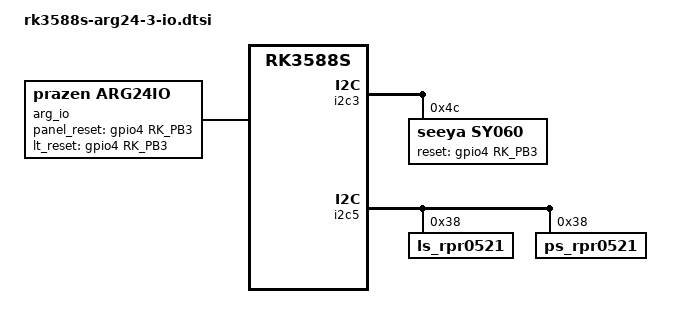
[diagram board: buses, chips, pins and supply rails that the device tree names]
// SPDX-License-Identifier: (GPL-2.0+ OR MIT)
/*
 * Copyright (c) 2024 Prazen Co., Ltd.
 *
 */


/ {
	arg_io {
		status = "okay";
		compatible = "prazen,arg24io";

		panel_reset = <&gpio4 RK_PB3 GPIO_ACTIVE_HIGH>;
		lt_reset = <&gpio4 RK_PB3 GPIO_ACTIVE_HIGH>;	
	};
};

// [feature development] mspark, 24.08.06, Add SeeYA OLED 0.6' Panel dts
&i2c3 {
	sy060: sy060@4c {
		status = "okay";
		compatible = "seeya,sy060";
		reg = <0x4c>;
		reset-gpio = <&gpio4 RK_PB3 GPIO_ACTIVE_HIGH>;
	};
};

// [feature development] mspark, 24.08.21, Add Light / Proximity Sensor (RPR-0521)
&i2c5 {
	ls_rpr0521: light@38 {
		compatible = "ls_rpr0521";
		status = "okay";
		reg = <0x38>;
		type = <SENSOR_TYPE_LIGHT>;
		irq_enable = <0>;
		als_measure_time = <100>;
		als_threshold_high = <100>;
		als_threshold_low = <10>;
		als_ctrl_gain = <0>; /* 0:x1 1:x2 2:x64 3:x128 */
		ps_led_current = <2>; /* 0:25mA 1:50mA 2:100mA 3:200mA*/		
		poll_delay_ms = <100>;
	};

	ps_rpr0521: proximity@38 {
		compatible = "ps_rpr0521";
		status = "okay";
		reg = <0x38>;
		type = <SENSOR_TYPE_PROXIMITY>;
		irq_enable = <0>;
		ps_measure_time = <100>;
		ps_threshold_high = <0x200>;
		ps_threshold_low = <0x100>;
		ps_ctrl_gain = <0>; /* 0:x1 1:x2 2:x4 */
		ps_led_current = <2>; /* 0:25mA 1:50mA 2:100mA 3:200mA*/
		als_ctrl_gain = <0>; /* 0:x1 1:x2 2:x64 3:x128 */	
		poll_delay_ms = <100>;
	};
};

&pinctrl {
	cam {
		mipidcphy_pwr: mipidcphy-pwr {
			rockchip,pins =
				/* camera power en */
				<1 RK_PA1 RK_FUNC_GPIO &pcfg_pull_none>;
		};
	};

	charger {
		charger_ok: charger_ok {
			rockchip,pins = <0 RK_PD5 RK_FUNC_GPIO &pcfg_pull_up>;
		};
	};

	headphone {
		hp_det: hp-det {
			rockchip,pins = <1 RK_PD0 RK_FUNC_GPIO &pcfg_pull_none>;
		};
	};

	hym8563 {
		rtc_int: rtc-int {
			rockchip,pins = <0 RK_PB0 RK_FUNC_GPIO &pcfg_pull_up>;
		};
	};

	sdio-pwrseq {
		wifi_enable_h: wifi-enable-h {
			rockchip,pins = <0 RK_PC7 RK_FUNC_GPIO &pcfg_pull_up>;
		};
	};

	sdmmc {
		sd_s0_pwr: sd-s0-pwr {
			rockchip,pins = <4 RK_PB4 RK_FUNC_GPIO &pcfg_pull_up>;
		};
	};

	sensor {
		mpu6500_irq_gpio: mpu6500-irq-gpio {
			rockchip,pins = <1 RK_PD3 RK_FUNC_GPIO &pcfg_pull_none>;
		};

		mh248_irq_gpio: mh248-irq-gpio {
			rockchip,pins = <0 RK_PD3 RK_FUNC_GPIO &pcfg_pull_up>;
		};
	};

	touch {
		touch_gpio: touch-gpio {
			rockchip,pins =
				<1 RK_PA6 RK_FUNC_GPIO &pcfg_pull_up>,
				<1 RK_PB5 RK_FUNC_GPIO &pcfg_pull_none>;
		};
	};

	usb {
		vcc5v0_host_en: vcc5v0-host-en {
			rockchip,pins = <4 RK_PB5 RK_FUNC_GPIO &pcfg_pull_none>;
		};
		vcc5v0_usb_en: vcc5v0-usb-en {
			rockchip,pins = <1 RK_PA4 RK_FUNC_GPIO &pcfg_pull_none>;
		};
	};

	usb-typec {
		usbc0_int: usbc0-int {
			rockchip,pins = <0 RK_PC4 RK_FUNC_GPIO &pcfg_pull_up>;
		};
	};

	wireless-bluetooth {
		uart7_gpios: uart7-gpios {
			rockchip,pins = <3 RK_PC2 RK_FUNC_GPIO &pcfg_pull_none>;
		};

		bt_reset_gpio: bt-reset-gpio {
			rockchip,pins = <0 RK_PD4 RK_FUNC_GPIO &pcfg_pull_none>;
		};

		bt_wake_gpio: bt-wake-gpio {
			rockchip,pins = <0 RK_PC6 RK_FUNC_GPIO &pcfg_pull_none>;
		};

		bt_irq_gpio: bt-irq-gpio {
			rockchip,pins = <0 RK_PC5 RK_FUNC_GPIO &pcfg_pull_down>;
		};
	};

	wireless-wlan {
		wifi_host_wake_irq: wifi-host-wake-irq {
			rockchip,pins = <0 RK_PA0 RK_FUNC_GPIO &pcfg_pull_down>;
		};

		wifi_poweren_gpio: wifi-poweren-gpio {
			rockchip,pins = <0 RK_PC7 RK_FUNC_GPIO &pcfg_pull_up>;
		};
	};
};
